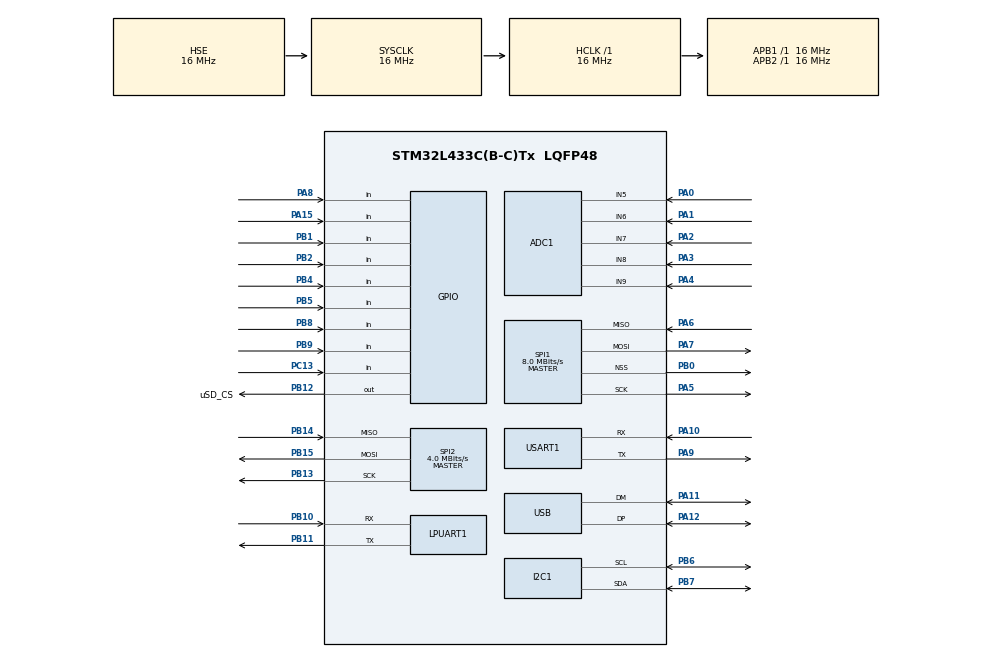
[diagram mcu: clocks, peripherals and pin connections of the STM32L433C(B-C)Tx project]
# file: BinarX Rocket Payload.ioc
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ADC1.Channel-0\#ChannelRegularConversion=ADC_CHANNEL_5
ADC1.NbrOfConversionFlag=1
ADC1.OffsetNumber-0\#ChannelRegularConversion=ADC_OFFSET_NONE
ADC1.Rank-0\#ChannelRegularConversion=1
ADC1.SamplingTime-0\#ChannelRegularConversion=ADC_SAMPLETIME_2CYCLES_5
ADC1.master=1
I2C1.Timing=0x00303D5B
Mcu.Family=STM32L4
Mcu.Name=STM32L433C(B-C)Tx
Mcu.Package=LQFP48
NVIC.PriorityGroup=NVIC_PRIORITYGROUP_4
PA0.Signal=ADCx_IN5
PA1.Signal=ADCx_IN6
PA10.Mode=Asynchronous
PA10.Signal=USART1_RX
PA11.Mode=Device
PA11.Signal=USB_DM
PA12.Mode=Device
PA12.Signal=USB_DP
PA13\ (JTMS-SWDIO).Mode=Trace_Asynchronous_SW
PA13\ (JTMS-SWDIO).Signal=SYS_JTMS-SWDIO
PA14\ (JTCK-SWCLK).Mode=Trace_Asynchronous_SW
PA14\ (JTCK-SWCLK).Signal=SYS_JTCK-SWCLK
PA15\ (JTDI).Signal=GPIO_Input
PA2.Signal=ADCx_IN7
PA3.Signal=ADCx_IN8
PA4.Signal=ADCx_IN9
PA5.Mode=Full_Duplex_Master
PA5.Signal=SPI1_SCK
PA6.Mode=Full_Duplex_Master
PA6.Signal=SPI1_MISO
PA7.Mode=Full_Duplex_Master
PA7.Signal=SPI1_MOSI
PA8.Signal=GPIO_Input
PA9.Mode=Asynchronous
PA9.Signal=USART1_TX
PB0.Mode=NSS_Signal_Hard_Output
PB0.Signal=SPI1_NSS
PB1.Signal=GPIO_Input
PB10.Mode=Asynchronous
PB10.Signal=LPUART1_RX
PB11.Mode=Asynchronous
PB11.Signal=LPUART1_TX
PB12.GPIO_Label=uSD_CS
PB12.Signal=GPIO_Output
PB13.Mode=Full_Duplex_Master
PB13.Signal=SPI2_SCK
PB14.Mode=Full_Duplex_Master
PB14.Signal=SPI2_MISO
PB15.Mode=Full_Duplex_Master
PB15.Signal=SPI2_MOSI
PB2.Signal=GPIO_Input
PB3\ (JTDO-TRACESWO).Mode=Trace_Asynchronous_SW
PB3\ (JTDO-TRACESWO).Signal=SYS_JTDO-SWO
PB4\ (NJTRST).Signal=GPIO_Input
PB5.Signal=GPIO_Input
PB6.Mode=I2C
PB6.Signal=I2C1_SCL
PB7.Mode=I2C
PB7.Signal=I2C1_SDA
PB8.Signal=GPIO_Input
PB9.Signal=GPIO_Input
PC13.Signal=GPIO_Input
PC14-OSC32_IN\ (PC14).Mode=LSE-External-Oscillator
PC14-OSC32_IN\ (PC14).Signal=RCC_OSC32_IN
PC15-OSC32_OUT\ (PC15).Mode=LSE-External-Oscillator
PC15-OSC32_OUT\ (PC15).Signal=RCC_OSC32_OUT
PH0-OSC_IN\ (PH0).Mode=HSE-External-Oscillator
PH0-OSC_IN\ (PH0).Signal=RCC_OSC_IN
PH1-OSC_OUT\ (PH1).Mode=HSE-External-Oscillator
PH1-OSC_OUT\ (PH1).Signal=RCC_OSC_OUT
ProjectManager.HeapSize=0x200
ProjectManager.StackSize=0x400
ProjectManager.TargetToolchain=STM32CubeIDE
RCC.ADCFreq_Value=48000000
RCC.AHBFreq_Value=16000000
RCC.APB1Freq_Value=16000000
RCC.APB1TimFreq_Value=16000000
RCC.APB2Freq_Value=16000000
RCC.APB2TimFreq_Value=16000000
RCC.CortexFreq_Value=16000000
RCC.HCLKFreq_Value=16000000
RCC.HSE_VALUE=16000000
RCC.HSI48_VALUE=48000000
RCC.HSI_VALUE=16000000
RCC.MSI_VALUE=4000000
RCC.PLLSAI1N=12
RCC.PLLSAI1Q=RCC_PLLQ_DIV4
RCC.PLLSAI1R=RCC_PLLR_DIV4
RCC.PLLSourceVirtual=RCC_PLLSOURCE_HSE
RCC.SYSCLKFreq_VALUE=16000000
RCC.SYSCLKSource=RCC_SYSCLKSOURCE_HSE
RCC.USBFreq_Value=48000000
RCC.VCOOutputFreq_Value=128000000
SH.ADCx_IN5.0=ADC1_IN5,IN5-Single-Ended
SH.ADCx_IN6.0=ADC1_IN6,IN6-Single-Ended
SH.ADCx_IN7.0=ADC1_IN7,IN7-Single-Ended
SH.ADCx_IN8.0=ADC1_IN8,IN8-Single-Ended
SH.ADCx_IN9.0=ADC1_IN9,IN9-Single-Ended
SPI1.CalculateBaudRate=8.0 MBits/s
SPI1.Direction=SPI_DIRECTION_2LINES
SPI1.Mode=SPI_MODE_MASTER
SPI1.VirtualNSS=VM_NSSHARD
SPI1.VirtualType=VM_MASTER
SPI2.BaudRatePrescaler=SPI_BAUDRATEPRESCALER_4
SPI2.CalculateBaudRate=4.0 MBits/s
SPI2.DataSize=SPI_DATASIZE_8BIT
SPI2.Direction=SPI_DIRECTION_2LINES
SPI2.Mode=SPI_MODE_MASTER
SPI2.VirtualType=VM_MASTER
USART1.VirtualMode-Asynchronous=VM_ASYNC
VP_FATFS_VS_Generic.Mode=User_defined
board=custom

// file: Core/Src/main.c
/* USER CODE BEGIN Header */
/**
  ******************************************************************************
  * @file           : main.c
  * @brief          : Main program body
  ******************************************************************************
  * @attention
  *
  * Copyright (c) 2023 STMicroelectronics.
  * All rights reserved.
  *
  * This software is licensed under terms that can be found in the LICENSE file
  * in the root directory of this software component.
  * If no LICENSE file comes with this software, it is provided AS-IS.
  *
  ******************************************************************************
  */
/* USER CODE END Header */
#include "main.h"
#include "fatfs.h"

/* USER CODE BEGIN Includes */
#include <stdio.h> //for sprintf()
#include <string.h> //for strlen()
/* USER CODE END Includes */

ADC_HandleTypeDef hadc1;

I2C_HandleTypeDef hi2c1;

UART_HandleTypeDef hlpuart1;
UART_HandleTypeDef huart1;

SPI_HandleTypeDef hspi1;
SPI_HandleTypeDef hspi2;

PCD_HandleTypeDef hpcd_USB_FS;

/* USER CODE BEGIN PV */
static char string_buffer[201] = ""; //static character string buffer for use with sprintf serial transmission & .csv file creation

/* USER CODE END PV */

void SystemClock_Config(void);
void PeriphCommonClock_Config(void);
static void MX_GPIO_Init(void);
static void MX_ADC1_Init(void);
static void MX_I2C1_Init(void);
static void MX_LPUART1_UART_Init(void);
static void MX_USART1_UART_Init(void);
static void MX_SPI1_Init(void);
static void MX_SPI2_Init(void);
static void MX_USB_PCD_Init(void);

int main(void)
{

  /* MCU Configuration--------------------------------------------------------*/

  /* Reset of all peripherals, Initializes the Flash interface and the Systick. */
  HAL_Init();

  /* Configure the system clock */
  SystemClock_Config();

/* Configure the peripherals common clocks */
  PeriphCommonClock_Config();

  /* Initialize all configured peripherals */
  MX_GPIO_Init();
  MX_ADC1_Init();
  MX_I2C1_Init();
  MX_LPUART1_UART_Init();
  MX_USART1_UART_Init();
  MX_SPI1_Init();
  MX_SPI2_Init();
  MX_USB_PCD_Init();
  MX_FATFS_Init();
  /* USER CODE BEGIN 2 */
  HAL_Delay(2000); //delay to prevent double printing after reboot during programming

  sprintf(string_buffer, "Hello from STM32L4 via UART.\r\n"); //load serial string buffer
  HAL_UART_Transmit(&huart1, (uint8_t *)string_buffer, strlen(string_buffer), 10); //transmit serial_string with a 10ms timeout using USART1

  HAL_Delay(1000); //delay to let SD card finish initialisation

  sprintf(string_buffer, "Finished SD card initialisation delay.\r\n"); //load serial string buffer
  HAL_UART_Transmit(&huart1, (uint8_t *)string_buffer, strlen(string_buffer), 10); //transmit serial_string with a 10ms timeout using USART1

  //some variables for FatFs
  FATFS FatFs; 	//Fatfs handle
  FIL f; 		//File handle
  FRESULT fr; //Result after operations

  //Open the file system
  fr = f_mount(&FatFs, "", 1); //1=mount now
  if (fr != FR_OK) {
	  sprintf(string_buffer, "File mount error: (%i)\r\n", fr);
	  HAL_UART_Transmit(&huart1, (uint8_t *)string_buffer, strlen(string_buffer), 10); //transmit serial_string with a 10ms timeout using USART1
    while(1); // stop here if there was an error
  }

  //Let's get some statistics from the SD card
  DWORD free_clusters, free_sectors, total_sectors;

  FATFS* getFreeFs;

  fr = f_getfree("", &free_clusters, &getFreeFs);
  if (fr != FR_OK) {
	  sprintf(string_buffer, "f_getfree error (%i)\r\n", fr);
	  HAL_UART_Transmit(&huart1, (uint8_t *)string_buffer, strlen(string_buffer), 10); //transmit serial_string with a 10ms timeout using USART1
 	while(1); // stop here if there was an error
  }

  //Formula comes from ChaN's documentation
  total_sectors = (getFreeFs->n_fatent - 2) * getFreeFs->csize;
  free_sectors = free_clusters * getFreeFs->csize;

  sprintf(string_buffer, "SD card stats:\r\n%10lu KiB total drive space.\r\n%10lu KiB available.\r\n", total_sectors / 2, free_sectors / 2);
  HAL_UART_Transmit(&huart1, (uint8_t *)string_buffer, strlen(string_buffer), 10); //transmit serial_string with a 10ms timeout using USART1

  //Now let's try to open file "test.txt"
  fr = f_open(&f, "hello.txt", FA_READ);
  if (fr != FR_OK) {
  sprintf(string_buffer, "f_open error (%i)\r\n", fr);
  HAL_UART_Transmit(&huart1, (uint8_t *)string_buffer, strlen(string_buffer), 10); //transmit serial_string with a 10ms timeout using USART1
  while(1); // stop here if there was an error
    }
  sprintf(string_buffer, "I was able to open \"hello.txt\" for reading!\r\n");
  HAL_UART_Transmit(&huart1, (uint8_t *)string_buffer, strlen(string_buffer), 10); //transmit serial_string with a 10ms timeout using USART1

  //Read 30 bytes from "test.txt" on the SD card
  BYTE readBuf[30];

  //We can either use f_read OR f_gets to get data out of files
  //f_gets is a wrapper on f_read that does some string formatting for us
  TCHAR* r_res = f_gets((TCHAR*)readBuf, 30, &f);
  if(r_res != 0) {
	sprintf(string_buffer, "Read string from 'hello_world.txt' contents: %s\r\n", readBuf);
	HAL_UART_Transmit(&huart1, (uint8_t *)string_buffer, strlen(string_buffer), 10); //transmit serial_string with a 10ms timeout using USART1
  } else {
	sprintf(string_buffer, "f_gets error (%i)\r\n", fr);
	HAL_UART_Transmit(&huart1, (uint8_t *)string_buffer, strlen(string_buffer), 10); //transmit serial_string with a 10ms timeout using USART1
  }

  //close file
  f_close(&f);

  fr = f_open(&f, "data.csv", FA_WRITE | FA_OPEN_APPEND);
  if(fr == FR_OK) {
	sprintf(string_buffer, "Opened data.csv for writing (appending lines)\r\n");
	HAL_UART_Transmit(&huart1, (uint8_t *)string_buffer, strlen(string_buffer), 10); //transmit serial_string with a 10ms timeout using USART1
  }
  else {
	sprintf(string_buffer, "f_open error (%i)\r\n", fr);
	HAL_UART_Transmit(&huart1, (uint8_t *)string_buffer, strlen(string_buffer), 10); //transmit serial_string with a 10ms timeout using USART1
  }

  UINT bytes_written;
  sprintf(string_buffer, "An additional line.\r\n");
  fr = f_write(&f, string_buffer, strlen(string_buffer), &bytes_written);
  if (fr == FR_OK) {
    sprintf(string_buffer, "Wrote %i bytes to data.csv.\r\n", bytes_written);
    HAL_UART_Transmit(&huart1, (uint8_t *)string_buffer, strlen(string_buffer), 10); //transmit serial_string with a 10ms timeout using USART1
  }
  else {
    sprintf(string_buffer, "f_write error (%i)\r\n", fr);
    HAL_UART_Transmit(&huart1, (uint8_t *)string_buffer, strlen(string_buffer), 10); //transmit serial_string with a 10ms timeout using USART1
  }

  f_close(&f);

  /* USER CODE END 2 */

  /* Infinite loop */
  while (1)
  {

  }
}

void SystemClock_Config(void)
{
  RCC_OscInitTypeDef RCC_OscInitStruct = {0};
  RCC_ClkInitTypeDef RCC_ClkInitStruct = {0};

  /** Configure the main internal regulator output voltage
  */
  if (HAL_PWREx_ControlVoltageScaling(PWR_REGULATOR_VOLTAGE_SCALE1) != HAL_OK)
  {
    Error_Handler();
  }

  /** Initializes the RCC Oscillators according to the specified parameters
  * in the RCC_OscInitTypeDef structure.
  */
  RCC_OscInitStruct.OscillatorType = RCC_OSCILLATORTYPE_HSE;
  RCC_OscInitStruct.HSEState = RCC_HSE_ON;
  RCC_OscInitStruct.PLL.PLLState = RCC_PLL_NONE;
  if (HAL_RCC_OscConfig(&RCC_OscInitStruct) != HAL_OK)
  {
    Error_Handler();
  }

  /** Initializes the CPU, AHB and APB buses clocks
  */
  RCC_ClkInitStruct.ClockType = RCC_CLOCKTYPE_HCLK|RCC_CLOCKTYPE_SYSCLK
                              |RCC_CLOCKTYPE_PCLK1|RCC_CLOCKTYPE_PCLK2;
  RCC_ClkInitStruct.SYSCLKSource = RCC_SYSCLKSOURCE_HSE;
  RCC_ClkInitStruct.AHBCLKDivider = RCC_SYSCLK_DIV1;
  RCC_ClkInitStruct.APB1CLKDivider = RCC_HCLK_DIV1;
  RCC_ClkInitStruct.APB2CLKDivider = RCC_HCLK_DIV1;

  if (HAL_RCC_ClockConfig(&RCC_ClkInitStruct, FLASH_LATENCY_0) != HAL_OK)
  {
    Error_Handler();
  }
}

void PeriphCommonClock_Config(void)
{
  RCC_PeriphCLKInitTypeDef PeriphClkInit = {0};

  /** Initializes the peripherals clock
  */
  PeriphClkInit.PeriphClockSelection = RCC_PERIPHCLK_USB|RCC_PERIPHCLK_ADC;
  PeriphClkInit.AdcClockSelection = RCC_ADCCLKSOURCE_PLLSAI1;
  PeriphClkInit.UsbClockSelection = RCC_USBCLKSOURCE_PLLSAI1;
  PeriphClkInit.PLLSAI1.PLLSAI1Source = RCC_PLLSOURCE_HSE;
  PeriphClkInit.PLLSAI1.PLLSAI1M = 1;
  PeriphClkInit.PLLSAI1.PLLSAI1N = 12;
  PeriphClkInit.PLLSAI1.PLLSAI1P = RCC_PLLP_DIV7;
  PeriphClkInit.PLLSAI1.PLLSAI1Q = RCC_PLLQ_DIV4;
  PeriphClkInit.PLLSAI1.PLLSAI1R = RCC_PLLR_DIV4;
  PeriphClkInit.PLLSAI1.PLLSAI1ClockOut = RCC_PLLSAI1_48M2CLK|RCC_PLLSAI1_ADC1CLK;
  if (HAL_RCCEx_PeriphCLKConfig(&PeriphClkInit) != HAL_OK)
  {
    Error_Handler();
  }
}

static void MX_ADC1_Init(void)
{

  ADC_ChannelConfTypeDef sConfig = {0};

  /** Common config
  */
  hadc1.Instance = ADC1;
  hadc1.Init.ClockPrescaler = ADC_CLOCK_ASYNC_DIV1;
  hadc1.Init.Resolution = ADC_RESOLUTION_12B;
  hadc1.Init.DataAlign = ADC_DATAALIGN_RIGHT;
  hadc1.Init.ScanConvMode = ADC_SCAN_DISABLE;
  hadc1.Init.EOCSelection = ADC_EOC_SINGLE_CONV;
  hadc1.Init.LowPowerAutoWait = DISABLE;
  hadc1.Init.ContinuousConvMode = DISABLE;
  hadc1.Init.NbrOfConversion = 1;
  hadc1.Init.DiscontinuousConvMode = DISABLE;
  hadc1.Init.ExternalTrigConv = ADC_SOFTWARE_START;
  hadc1.Init.ExternalTrigConvEdge = ADC_EXTERNALTRIGCONVEDGE_NONE;
  hadc1.Init.DMAContinuousRequests = DISABLE;
  hadc1.Init.Overrun = ADC_OVR_DATA_PRESERVED;
  hadc1.Init.OversamplingMode = DISABLE;
  if (HAL_ADC_Init(&hadc1) != HAL_OK)
  {
    Error_Handler();
  }

  /** Configure Regular Channel
  */
  sConfig.Channel = ADC_CHANNEL_5;
  sConfig.Rank = ADC_REGULAR_RANK_1;
  sConfig.SamplingTime = ADC_SAMPLETIME_2CYCLES_5;
  sConfig.SingleDiff = ADC_SINGLE_ENDED;
  sConfig.OffsetNumber = ADC_OFFSET_NONE;
  sConfig.Offset = 0;
  if (HAL_ADC_ConfigChannel(&hadc1, &sConfig) != HAL_OK)
  {
    Error_Handler();
  }

}

static void MX_I2C1_Init(void)
{

  hi2c1.Instance = I2C1;
  hi2c1.Init.Timing = 0x00303D5B;
  hi2c1.Init.OwnAddress1 = 0;
  hi2c1.Init.AddressingMode = I2C_ADDRESSINGMODE_7BIT;
  hi2c1.Init.DualAddressMode = I2C_DUALADDRESS_DISABLE;
  hi2c1.Init.OwnAddress2 = 0;
  hi2c1.Init.OwnAddress2Masks = I2C_OA2_NOMASK;
  hi2c1.Init.GeneralCallMode = I2C_GENERALCALL_DISABLE;
  hi2c1.Init.NoStretchMode = I2C_NOSTRETCH_DISABLE;
  if (HAL_I2C_Init(&hi2c1) != HAL_OK)
  {
    Error_Handler();
  }

  /** Configure Analogue filter
  */
  if (HAL_I2CEx_ConfigAnalogFilter(&hi2c1, I2C_ANALOGFILTER_ENABLE) != HAL_OK)
  {
    Error_Handler();
  }

  /** Configure Digital filter
  */
  if (HAL_I2CEx_ConfigDigitalFilter(&hi2c1, 0) != HAL_OK)
  {
    Error_Handler();
  }

}

static void MX_LPUART1_UART_Init(void)
{

  hlpuart1.Instance = LPUART1;
  hlpuart1.Init.BaudRate = 209700;
  hlpuart1.Init.WordLength = UART_WORDLENGTH_7B;
  hlpuart1.Init.StopBits = UART_STOPBITS_1;
  hlpuart1.Init.Parity = UART_PARITY_NONE;
  hlpuart1.Init.Mode = UART_MODE_TX_RX;
  hlpuart1.Init.HwFlowCtl = UART_HWCONTROL_NONE;
  hlpuart1.Init.OneBitSampling = UART_ONE_BIT_SAMPLE_DISABLE;
  hlpuart1.AdvancedInit.AdvFeatureInit = UART_ADVFEATURE_NO_INIT;
  if (HAL_UART_Init(&hlpuart1) != HAL_OK)
  {
    Error_Handler();
  }

}

static void MX_USART1_UART_Init(void)
{

  huart1.Instance = USART1;
  huart1.Init.BaudRate = 115200;
  huart1.Init.WordLength = UART_WORDLENGTH_8B;
  huart1.Init.StopBits = UART_STOPBITS_1;
  huart1.Init.Parity = UART_PARITY_NONE;
  huart1.Init.Mode = UART_MODE_TX_RX;
  huart1.Init.HwFlowCtl = UART_HWCONTROL_NONE;
  huart1.Init.OverSampling = UART_OVERSAMPLING_16;
  huart1.Init.OneBitSampling = UART_ONE_BIT_SAMPLE_DISABLE;
  huart1.AdvancedInit.AdvFeatureInit = UART_ADVFEATURE_NO_INIT;
  if (HAL_UART_Init(&huart1) != HAL_OK)
  {
    Error_Handler();
  }

}

static void MX_SPI1_Init(void)
{

  /* SPI1 parameter configuration*/
  hspi1.Instance = SPI1;
  hspi1.Init.Mode = SPI_MODE_MASTER;
  hspi1.Init.Direction = SPI_DIRECTION_2LINES;
  hspi1.Init.DataSize = SPI_DATASIZE_4BIT;
  hspi1.Init.CLKPolarity = SPI_POLARITY_LOW;
  hspi1.Init.CLKPhase = SPI_PHASE_1EDGE;
  hspi1.Init.NSS = SPI_NSS_HARD_OUTPUT;
  hspi1.Init.BaudRatePrescaler = SPI_BAUDRATEPRESCALER_2;
  hspi1.Init.FirstBit = SPI_FIRSTBIT_MSB;
  hspi1.Init.TIMode = SPI_TIMODE_DISABLE;
  hspi1.Init.CRCCalculation = SPI_CRCCALCULATION_DISABLE;
  hspi1.Init.CRCPolynomial = 7;
  hspi1.Init.CRCLength = SPI_CRC_LENGTH_DATASIZE;
  hspi1.Init.NSSPMode = SPI_NSS_PULSE_ENABLE;
  if (HAL_SPI_Init(&hspi1) != HAL_OK)
  {
    Error_Handler();
  }

}

static void MX_SPI2_Init(void)
{

  /* SPI2 parameter configuration*/
  hspi2.Instance = SPI2;
  hspi2.Init.Mode = SPI_MODE_MASTER;
  hspi2.Init.Direction = SPI_DIRECTION_2LINES;
  hspi2.Init.DataSize = SPI_DATASIZE_8BIT;
  hspi2.Init.CLKPolarity = SPI_POLARITY_LOW;
  hspi2.Init.CLKPhase = SPI_PHASE_1EDGE;
  hspi2.Init.NSS = SPI_NSS_SOFT;
  hspi2.Init.BaudRatePrescaler = SPI_BAUDRATEPRESCALER_4;
  hspi2.Init.FirstBit = SPI_FIRSTBIT_MSB;
  hspi2.Init.TIMode = SPI_TIMODE_DISABLE;
  hspi2.Init.CRCCalculation = SPI_CRCCALCULATION_DISABLE;
  hspi2.Init.CRCPolynomial = 7;
  hspi2.Init.CRCLength = SPI_CRC_LENGTH_DATASIZE;
  hspi2.Init.NSSPMode = SPI_NSS_PULSE_ENABLE;
  if (HAL_SPI_Init(&hspi2) != HAL_OK)
  {
    Error_Handler();
  }

}

static void MX_USB_PCD_Init(void)
{

  hpcd_USB_FS.Instance = USB;
  hpcd_USB_FS.Init.dev_endpoints = 8;
  hpcd_USB_FS.Init.speed = PCD_SPEED_FULL;
  hpcd_USB_FS.Init.phy_itface = PCD_PHY_EMBEDDED;
  hpcd_USB_FS.Init.Sof_enable = DISABLE;
  hpcd_USB_FS.Init.low_power_enable = DISABLE;
  hpcd_USB_FS.Init.lpm_enable = DISABLE;
  hpcd_USB_FS.Init.battery_charging_enable = DISABLE;
  if (HAL_PCD_Init(&hpcd_USB_FS) != HAL_OK)
  {
    Error_Handler();
  }

}

static void MX_GPIO_Init(void)
{
  GPIO_InitTypeDef GPIO_InitStruct = {0};

  /* GPIO Ports Clock Enable */
  __HAL_RCC_GPIOC_CLK_ENABLE();
  __HAL_RCC_GPIOH_CLK_ENABLE();
  __HAL_RCC_GPIOA_CLK_ENABLE();
  __HAL_RCC_GPIOB_CLK_ENABLE();

  /*Configure GPIO pin Output Level */
  HAL_GPIO_WritePin(uSD_CS_GPIO_Port, uSD_CS_Pin, GPIO_PIN_RESET);

  /*Configure GPIO pin : PC13 */
  GPIO_InitStruct.Pin = GPIO_PIN_13;
  GPIO_InitStruct.Mode = GPIO_MODE_INPUT;
  GPIO_InitStruct.Pull = GPIO_NOPULL;
  HAL_GPIO_Init(GPIOC, &GPIO_InitStruct);

  /*Configure GPIO pins : PB1 PB2 PB4 PB5
                           PB8 PB9 */
  GPIO_InitStruct.Pin = GPIO_PIN_1|GPIO_PIN_2|GPIO_PIN_4|GPIO_PIN_5
                          |GPIO_PIN_8|GPIO_PIN_9;
  GPIO_InitStruct.Mode = GPIO_MODE_INPUT;
  GPIO_InitStruct.Pull = GPIO_NOPULL;
  HAL_GPIO_Init(GPIOB, &GPIO_InitStruct);

  /*Configure GPIO pin : uSD_CS_Pin */
  GPIO_InitStruct.Pin = uSD_CS_Pin;
  GPIO_InitStruct.Mode = GPIO_MODE_OUTPUT_PP;
  GPIO_InitStruct.Pull = GPIO_NOPULL;
  GPIO_InitStruct.Speed = GPIO_SPEED_FREQ_LOW;
  HAL_GPIO_Init(uSD_CS_GPIO_Port, &GPIO_InitStruct);

  /*Configure GPIO pins : PA8 PA15 */
  GPIO_InitStruct.Pin = GPIO_PIN_8|GPIO_PIN_15;
  GPIO_InitStruct.Mode = GPIO_MODE_INPUT;
  GPIO_InitStruct.Pull = GPIO_NOPULL;
  HAL_GPIO_Init(GPIOA, &GPIO_InitStruct);

}

void Error_Handler(void)
{
  __disable_irq();
  while (1)
  {
  }
}
